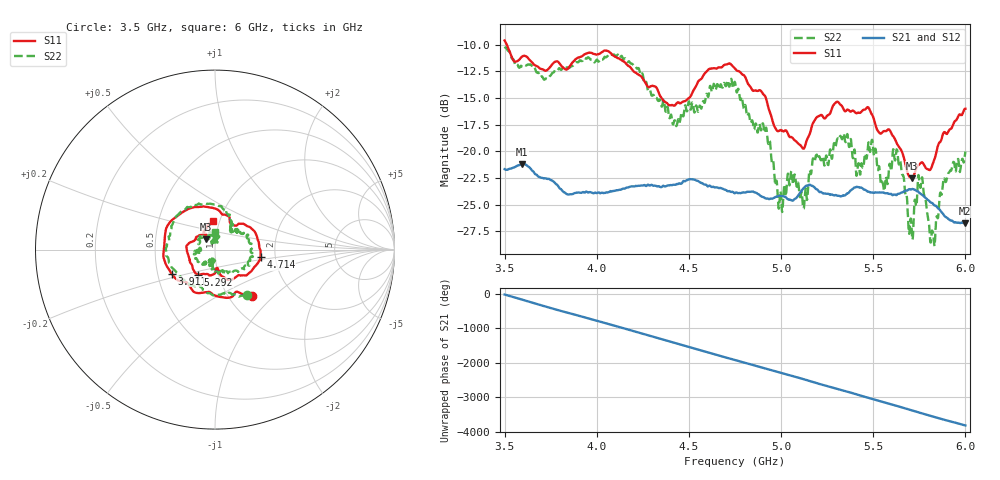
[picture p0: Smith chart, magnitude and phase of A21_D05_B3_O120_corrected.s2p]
! Created with skrf 1.9.0 (http://scikit-rf.org).
# Hz S RI R 50.0
!freq ReS11 ImS11 ReS21 ImS21 ReS12 ImS12 ReS22 ImS22
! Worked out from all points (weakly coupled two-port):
!   1601 points, 3.5 GHz to 6 GHz, reference 50 ohm
!   highest |S21| = -21.19 dB at 3.592 GHz (marker M1); lowest = -26.8 dB at 5.997 GHz (marker M2)
!   lowest |S11| = -22.5 dB at 5.709 GHz (marker M3), VSWR 1.16, Z = 45.1 + j5.13 ohm
!   |S11| at or under -10 dB: 3.511 GHz to end of sweep
!   |S22| runs from -28.9 to -10.2 dB; largest |S21 - S12| = 0.001
!   S11 on the Smith chart (normalised r, x): 3.5 GHz: 1.27, -0.74; 3.911 GHz: 0.59, -0.17; 4.714 GHz: 1.67, -0.15; 5.292 GHz: 0.80, -0.23; 6 GHz: 0.93, +0.30
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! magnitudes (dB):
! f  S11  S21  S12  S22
! 3.5 GHz  -9.6  -21.7  -21.7  -10.2
! 3.592 GHz  -11.2  -21.2  -21.2  -12.0
! 3.911 GHz  -11.2  -23.9  -23.9  -11.5
! 3.917 GHz  -11.1  -23.9  -23.9  -11.5
! 4.334 GHz  -14.4  -23.3  -23.2  -15.3
! 4.425 GHz  -15.7  -23.1  -23.1  -17.2
! 4.714 GHz  -11.8  -23.8  -23.8  -13.6
! 4.75 GHz  -12.3  -23.9  -23.9  -13.5
! 4.912 GHz  -14.8  -24.4  -24.3  -18.3
! 4.997 GHz  -18.0  -24.2  -24.1  -23.7
! 5.047 GHz  -18.7  -24.5  -24.5  -23.1
! 5.13 GHz  -19.5  -23.3  -23.3  -23.9
! 5.167 GHz  -17.6  -23.2  -23.2  -21.5
! 5.292 GHz  -15.5  -24.1  -24.1  -19.4
! 5.584 GHz  -18.0  -24.0  -24.0  -21.8
! 5.638 GHz  -19.5  -24.0  -23.9  -21.2
! 5.709 GHz  -22.5  -23.6  -23.5  -27.6
! 5.755 GHz  -21.2  -24.0  -23.9  -23.3
! 5.823 GHz  -21.2  -24.9  -24.9  -27.6
! 5.889 GHz  -18.2  -26.1  -26.1  -22.7
! 5.997 GHz  -16.0  -26.8  -26.7  -20.4
! 6 GHz  -16.0  -26.7  -26.7  -20.0
